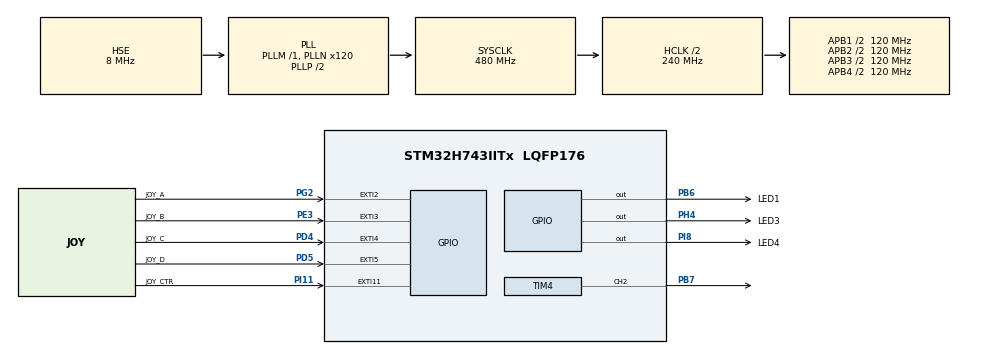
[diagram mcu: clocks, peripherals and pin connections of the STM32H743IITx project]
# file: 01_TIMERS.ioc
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CORTEX_M7.default_mode_Activation=1
Mcu.Family=STM32H7
Mcu.Name=STM32H743IITx
Mcu.Package=LQFP176
NVIC.EXTI15_10_IRQn=true\:0\:0\:false\:false\:true\:true\:true\:true
NVIC.EXTI2_IRQn=true\:0\:0\:false\:false\:true\:true\:true\:true
NVIC.EXTI3_IRQn=true\:0\:0\:false\:false\:true\:true\:true\:true
NVIC.EXTI4_IRQn=true\:0\:0\:false\:false\:true\:true\:true\:true
NVIC.EXTI9_5_IRQn=true\:0\:0\:false\:false\:true\:true\:true\:true
NVIC.PriorityGroup=NVIC_PRIORITYGROUP_4
NVIC.TIM1_UP_IRQn=true\:0\:0\:false\:false\:true\:true\:true\:true
PA13\ (JTMS/SWDIO).Mode=JTAG_5_pins
PA13\ (JTMS/SWDIO).Signal=DEBUG_JTMS-SWDIO
PA14\ (JTCK/SWCLK).Mode=JTAG_5_pins
PA14\ (JTCK/SWCLK).Signal=DEBUG_JTCK-SWCLK
PA15\ (JTDI).Mode=JTAG_5_pins
PA15\ (JTDI).Signal=DEBUG_JTDI
PB3\ (JTDO/TRACESWO).Mode=JTAG_5_pins
PB3\ (JTDO/TRACESWO).Signal=DEBUG_JTDO-SWO
PB4\ (NJTRST).Mode=JTAG_5_pins
PB4\ (NJTRST).Signal=DEBUG_JTRST
PB6.GPIO_Label=LED1
PB6.Signal=GPIO_Output
PB7.Signal=S_TIM4_CH2
PD4.GPIO_Label=JOY_C
PD4.GPIO_ModeDefaultEXTI=GPIO_MODE_IT_FALLING
PD4.GPIO_PuPd=GPIO_PULLUP
PD4.Signal=GPXTI4
PD5.GPIO_Label=JOY_D
PD5.GPIO_ModeDefaultEXTI=GPIO_MODE_IT_FALLING
PD5.GPIO_PuPd=GPIO_PULLUP
PD5.Signal=GPXTI5
PE3.GPIO_Label=JOY_B
PE3.GPIO_ModeDefaultEXTI=GPIO_MODE_IT_FALLING
PE3.GPIO_PuPd=GPIO_PULLUP
PE3.Signal=GPXTI3
PG2.GPIO_Label=JOY_A
PG2.GPIO_ModeDefaultEXTI=GPIO_MODE_IT_FALLING
PG2.GPIO_PuPd=GPIO_PULLUP
PG2.Signal=GPXTI2
PH0-OSC_IN\ (PH0).Mode=HSE-External-Oscillator
PH0-OSC_IN\ (PH0).Signal=RCC_OSC_IN
PH1-OSC_OUT\ (PH1).Mode=HSE-External-Oscillator
PH1-OSC_OUT\ (PH1).Signal=RCC_OSC_OUT
PH4.GPIO_Label=LED3
PH4.Signal=GPIO_Output
PI11.GPIO_Label=JOY_CTR
PI11.GPIO_ModeDefaultEXTI=GPIO_MODE_IT_FALLING
PI11.GPIO_PuPd=GPIO_PULLUP
PI11.Signal=GPXTI11
PI8.GPIO_Label=LED4
PI8.Signal=GPIO_Output
ProjectManager.HeapSize=0x200
ProjectManager.StackSize=0x400
ProjectManager.TargetToolchain=Makefile
RCC.ADCFreq_Value=16125000
RCC.APB1Freq_Value=120000000
RCC.APB2Freq_Value=120000000
RCC.APB3Freq_Value=120000000
RCC.APB4Freq_Value=120000000
RCC.CortexFreq_Value=480000000
RCC.D1PPRE=RCC_APB3_DIV2
RCC.D2PPRE1=RCC_APB1_DIV2
RCC.D2PPRE2=RCC_APB2_DIV2
RCC.D3PPRE=RCC_APB4_DIV2
RCC.DIVM1=1
RCC.DIVN1=120
RCC.HCLKFreq_Value=240000000
RCC.HPRE=RCC_HCLK_DIV2
RCC.HSE_VALUE=8000000
RCC.PLL2FRACN=0
RCC.PLL3FRACN=0
RCC.PLLFRACN=0
RCC.PLLSourceVirtual=RCC_PLLSOURCE_HSE
RCC.PWR_Regulator_Voltage_Scale=PWR_REGULATOR_VOLTAGE_SCALE0
RCC.ProductRev=revV
RCC.SYSCLKFreq_VALUE=480000000
RCC.SYSCLKSource=RCC_SYSCLKSOURCE_PLLCLK
RCC.USBFreq_Value=480000000
SH.S_TIM4_CH2.0=TIM4_CH2,PWM Generation2 CH2
TIM1.Period=20000-1
TIM1.Prescaler=2400-1
TIM4.AutoReloadPreload=TIM_AUTORELOAD_PRELOAD_ENABLE
TIM4.Channel-PWM\ Generation2\ CH2=TIM_CHANNEL_2
TIM4.Period=24000-1
TIM4.Prescaler=100-1
TIM4.Pulse-PWM\ Generation2\ CH2=2400
VP_MEMORYMAP_VS_MEMORYMAP.Mode=CurAppReg
VP_TIM1_VS_ClockSourceINT.Mode=Internal
board=custom

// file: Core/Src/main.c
/* USER CODE BEGIN Header */
/**
  ******************************************************************************
  * @file           : main.c
  * @brief          : Main program body
  ******************************************************************************
  * @attention
  *
  * Copyright (c) 2025 STMicroelectronics.
  * All rights reserved.
  *
  * This software is licensed under terms that can be found in the LICENSE file
  * in the root directory of this software component.
  * If no LICENSE file comes with this software, it is provided AS-IS.
  *
  ******************************************************************************
  */
/* USER CODE END Header */
#include "main.h"
#include "memorymap.h"
#include "tim.h"
#include "gpio.h"

void SystemClock_Config(void);
static void MPU_Config(void);

/* USER CODE BEGIN 0 */

#define TIMER_PERIOD_CNT    1
#define PWM_DUTY_COEFF      2400
volatile uint32_t timer_counter = 0;
volatile uint8_t pwm_duty_counter = 0;
volatile uint16_t pwm_duty = 0;
volatile int8_t pwm_duty_flag = 0;

void HAL_TIM_PeriodElapsedCallback(TIM_HandleTypeDef *htim)
{

    if (htim->Instance == TIM1)
    {
        timer_counter++;

        if(timer_counter == TIMER_PERIOD_CNT)
        {
            if(pwm_duty_counter == 0)
            {
                pwm_duty = 0;
                pwm_duty_flag = 1;
            }
            else
            {
                if (pwm_duty_counter == 9)
                {
                    pwm_duty_flag = -1;
                }
                pwm_duty = PWM_DUTY_COEFF * pwm_duty_counter - 1;
            }

            if(pwm_duty_flag > 0)
            {
                pwm_duty_counter++;
            }
            else if(pwm_duty_flag < 0)
            {
                pwm_duty_counter--;;
            }

            __HAL_TIM_SET_COMPARE(&htim4, TIM_CHANNEL_2, pwm_duty);

            timer_counter = 0;
            HAL_GPIO_TogglePin(LED1_GPIO_Port, LED1_Pin);
        }
    }
}

/* USER CODE END 0 */

int main(void)
{

  /* MPU Configuration--------------------------------------------------------*/
  MPU_Config();

  /* MCU Configuration--------------------------------------------------------*/

  /* Reset of all peripherals, Initializes the Flash interface and the Systick. */
  HAL_Init();

  /* Configure the system clock */
  SystemClock_Config();

  /* Initialize all configured peripherals */
  MX_GPIO_Init();
  MX_TIM1_Init();
  MX_TIM4_Init();
  /* USER CODE BEGIN 2 */
  HAL_TIM_Base_Start_IT(&htim1);
  HAL_TIM_PWM_Start(&htim4, TIM_CHANNEL_2);

  /* USER CODE END 2 */

  /* Infinite loop */
  while (1)
  {

  }
}

void SystemClock_Config(void)
{
  RCC_OscInitTypeDef RCC_OscInitStruct = {0};
  RCC_ClkInitTypeDef RCC_ClkInitStruct = {0};

  /** Supply configuration update enable
  */
  HAL_PWREx_ConfigSupply(PWR_LDO_SUPPLY);

  /** Configure the main internal regulator output voltage
  */
  __HAL_PWR_VOLTAGESCALING_CONFIG(PWR_REGULATOR_VOLTAGE_SCALE0);

  while(!__HAL_PWR_GET_FLAG(PWR_FLAG_VOSRDY)) {}

  /** Initializes the RCC Oscillators according to the specified parameters
  * in the RCC_OscInitTypeDef structure.
  */
  RCC_OscInitStruct.OscillatorType = RCC_OSCILLATORTYPE_HSE;
  RCC_OscInitStruct.HSEState = RCC_HSE_ON;
  RCC_OscInitStruct.PLL.PLLState = RCC_PLL_ON;
  RCC_OscInitStruct.PLL.PLLSource = RCC_PLLSOURCE_HSE;
  RCC_OscInitStruct.PLL.PLLM = 1;
  RCC_OscInitStruct.PLL.PLLN = 120;
  RCC_OscInitStruct.PLL.PLLP = 2;
  RCC_OscInitStruct.PLL.PLLQ = 2;
  RCC_OscInitStruct.PLL.PLLR = 2;
  RCC_OscInitStruct.PLL.PLLRGE = RCC_PLL1VCIRANGE_3;
  RCC_OscInitStruct.PLL.PLLVCOSEL = RCC_PLL1VCOWIDE;
  RCC_OscInitStruct.PLL.PLLFRACN = 0;
  if (HAL_RCC_OscConfig(&RCC_OscInitStruct) != HAL_OK)
  {
    Error_Handler();
  }

  /** Initializes the CPU, AHB and APB buses clocks
  */
  RCC_ClkInitStruct.ClockType = RCC_CLOCKTYPE_HCLK|RCC_CLOCKTYPE_SYSCLK
                              |RCC_CLOCKTYPE_PCLK1|RCC_CLOCKTYPE_PCLK2
                              |RCC_CLOCKTYPE_D3PCLK1|RCC_CLOCKTYPE_D1PCLK1;
  RCC_ClkInitStruct.SYSCLKSource = RCC_SYSCLKSOURCE_PLLCLK;
  RCC_ClkInitStruct.SYSCLKDivider = RCC_SYSCLK_DIV1;
  RCC_ClkInitStruct.AHBCLKDivider = RCC_HCLK_DIV2;
  RCC_ClkInitStruct.APB3CLKDivider = RCC_APB3_DIV2;
  RCC_ClkInitStruct.APB1CLKDivider = RCC_APB1_DIV2;
  RCC_ClkInitStruct.APB2CLKDivider = RCC_APB2_DIV2;
  RCC_ClkInitStruct.APB4CLKDivider = RCC_APB4_DIV2;

  if (HAL_RCC_ClockConfig(&RCC_ClkInitStruct, FLASH_LATENCY_4) != HAL_OK)
  {
    Error_Handler();
  }
}

 /* MPU Configuration */

void MPU_Config(void)
{
  MPU_Region_InitTypeDef MPU_InitStruct = {0};

  /* Disables the MPU */
  HAL_MPU_Disable();

  /** Initializes and configures the Region and the memory to be protected
  */
  MPU_InitStruct.Enable = MPU_REGION_ENABLE;
  MPU_InitStruct.Number = MPU_REGION_NUMBER0;
  MPU_InitStruct.BaseAddress = 0x0;
  MPU_InitStruct.Size = MPU_REGION_SIZE_4GB;
  MPU_InitStruct.SubRegionDisable = 0x87;
  MPU_InitStruct.TypeExtField = MPU_TEX_LEVEL0;
  MPU_InitStruct.AccessPermission = MPU_REGION_NO_ACCESS;
  MPU_InitStruct.DisableExec = MPU_INSTRUCTION_ACCESS_DISABLE;
  MPU_InitStruct.IsShareable = MPU_ACCESS_SHAREABLE;
  MPU_InitStruct.IsCacheable = MPU_ACCESS_NOT_CACHEABLE;
  MPU_InitStruct.IsBufferable = MPU_ACCESS_NOT_BUFFERABLE;

  HAL_MPU_ConfigRegion(&MPU_InitStruct);
  /* Enables the MPU */
  HAL_MPU_Enable(MPU_PRIVILEGED_DEFAULT);

}

void Error_Handler(void)
{
  __disable_irq();
  while (1)
  {
  }
}
